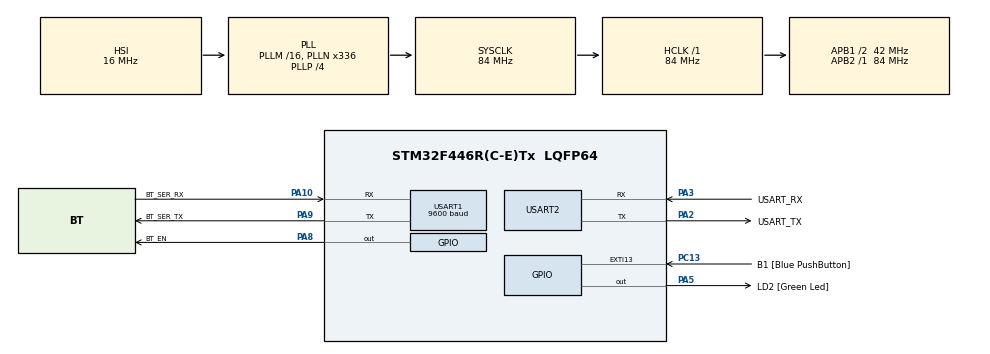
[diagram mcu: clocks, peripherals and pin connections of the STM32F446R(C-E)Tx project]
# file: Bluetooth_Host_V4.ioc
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Mcu.Family=STM32F4
Mcu.Name=STM32F446R(C-E)Tx
Mcu.Package=LQFP64
NVIC.PriorityGroup=NVIC_PRIORITYGROUP_0
PA10.GPIO_Label=BT_SER_RX
PA10.Mode=Asynchronous
PA10.Signal=USART1_RX
PA13.GPIO_Label=TMS
PA13.Mode=Serial_Wire
PA13.Signal=SYS_JTMS-SWDIO
PA14.GPIO_Label=TCK
PA14.Mode=Serial_Wire
PA14.Signal=SYS_JTCK-SWCLK
PA2.GPIO_Label=USART_TX
PA2.Mode=Asynchronous
PA2.Signal=USART2_TX
PA3.GPIO_Label=USART_RX
PA3.Mode=Asynchronous
PA3.Signal=USART2_RX
PA5.GPIO_Label=LD2 [Green Led]
PA5.Signal=GPIO_Output
PA8.GPIO_Label=BT_EN
PA8.Signal=GPIO_Output
PA9.GPIO_Label=BT_SER_TX
PA9.Mode=Asynchronous
PA9.Signal=USART1_TX
PB3.GPIO_Label=SWO
PB3.Signal=SYS_JTDO-SWO
PC13.GPIO_Label=B1 [Blue PushButton]
PC13.GPIO_ModeDefaultEXTI=GPIO_MODE_IT_FALLING
PC13.Signal=GPXTI13
PC14-OSC32_IN.Mode=LSE-External-Oscillator
PC14-OSC32_IN.Signal=RCC_OSC32_IN
PC15-OSC32_OUT.Mode=LSE-External-Oscillator
PC15-OSC32_OUT.Signal=RCC_OSC32_OUT
PH0-OSC_IN.Mode=HSE-External-Oscillator
PH0-OSC_IN.Signal=RCC_OSC_IN
PH1-OSC_OUT.Mode=HSE-External-Oscillator
PH1-OSC_OUT.Signal=RCC_OSC_OUT
ProjectManager.HeapSize=0x200
ProjectManager.StackSize=0x400
ProjectManager.TargetToolchain=MDK-ARM V5.32
RCC.48MHZClocksFreq_Value=84000000
RCC.AHBFreq_Value=84000000
RCC.APB1CLKDivider=RCC_HCLK_DIV2
RCC.APB1Freq_Value=42000000
RCC.APB1TimFreq_Value=84000000
RCC.APB2Freq_Value=84000000
RCC.APB2TimFreq_Value=84000000
RCC.CortexFreq_Value=84000000
RCC.FLatency-AdvancedSettings=FLASH_LATENCY_2
RCC.HCLKFreq_Value=84000000
RCC.HSE_VALUE=8000000
RCC.HSI_VALUE=16000000
RCC.PLLN=336
RCC.PLLP=RCC_PLLP_DIV4
RCC.SYSCLKFreq_VALUE=84000000
RCC.SYSCLKSource=RCC_SYSCLKSOURCE_PLLCLK
RCC.USBFreq_Value=168000000
RCC.VCOOutputFreq_Value=336000000
USART1.BaudRate=9600
USART1.VirtualMode=VM_ASYNC
USART2.VirtualMode=VM_ASYNC
board=NUCLEO-F446RE

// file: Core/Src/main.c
/* USER CODE BEGIN Header */
/**
  ******************************************************************************
  * @file           : main.c
  * @brief          : Main program body
  ******************************************************************************
  * @attention
  *
  * Copyright (c) 2024 STMicroelectronics.
  * All rights reserved.
  *
  * This software is licensed under terms that can be found in the LICENSE file
  * in the root directory of this software component.
  * If no LICENSE file comes with this software, it is provided AS-IS.
  *
  ******************************************************************************
  */
/* USER CODE END Header */
#include "main.h"

/* USER CODE BEGIN Includes */
#include "BT_Commands.h"

/* USER CODE END Includes */

UART_HandleTypeDef huart1;
UART_HandleTypeDef huart2;

void SystemClock_Config(void);
static void MX_GPIO_Init(void);
static void MX_USART1_UART_Init(void);
static void MX_USART2_UART_Init(void);

/* USER CODE BEGIN 0 */

void Serial_Clear_Buffer(){
	char received = SerialRead();
	while (SerialRead() != 0x00)
		{
			received = SerialRead();
			HAL_UART_Transmit(&huart2, (uint8_t *)&received, 1, HAL_MAX_DELAY);
		}
}
void Serial_Print_ADDR()
{
		SerialSendCommand("AT+ADDR?\r\n");
		char readed = SerialRead();
		while (readed != 0x00){
				HAL_UART_Transmit(&huart2, (uint8_t *)&readed, 1, HAL_MAX_DELAY);
				readed = SerialRead();
		}
		HAL_UART_Transmit(&huart2, (uint8_t *)&"\n", 1, HAL_MAX_DELAY);
}

void Serial_Init_Master()
{
		// Configurando o ROLE para ser Master
		HAL_Delay(100);
		SerialSendCommand("AT+ROLE=1\r\n");
		while (SerialOK() == 0)
		{
				SerialSendCommand("AT+ROLE=1\r\n");
				HAL_Delay(100);
		}
		HAL_UART_Transmit(&huart2, (uint8_t *)&"OK ROLE\n", 8, HAL_MAX_DELAY);

		Serial_Clear_Buffer();

		// Configurando o CMODE para se Conectar a um endere?o fixo
		HAL_Delay(100);
		SerialSendCommand("AT+CMODE=0\r\n");
		while (SerialOK() == 0)
		{
				SerialSendCommand("AT+CMODE=0\r\n");
				HAL_Delay(100);
		}
		HAL_UART_Transmit(&huart2, (uint8_t *)&"OK CMODE\n", 9, HAL_MAX_DELAY);

		Serial_Clear_Buffer();

		// Configurando o BIND para se Conectar no endere?o do Bluetooth selecionado
		HAL_Delay(100);
		SerialSendCommand("AT+BIND=98D3,31,F5DB90\r\n");
		while (SerialOK() == 0)
		{
				SerialSendCommand("AT+BIND=98D3,31,F5DB90\r\n");
				HAL_Delay(100);
		}
		HAL_UART_Transmit(&huart2, (uint8_t *)&"OK BIND\n", 9, HAL_MAX_DELAY);
}

void Serial_Init_Slave()
{
		// Configurando o ROLE para ser Master
		HAL_Delay(100);
		SerialSendCommand("AT+ROLE=0\r\n");
		while (SerialOK() == 0)
		{
				SerialSendCommand("AT+ROLE=0\r\n");
				HAL_Delay(100);
		}
		HAL_UART_Transmit(&huart2, (uint8_t *)&"OK ROLE\n", 8, HAL_MAX_DELAY);
}

/* USER CODE END 0 */

int main(void)
{

  /* MCU Configuration--------------------------------------------------------*/

  /* Reset of all peripherals, Initializes the Flash interface and the Systick. */
  HAL_Init();

  /* Configure the system clock */
  SystemClock_Config();

  /* Initialize all configured peripherals */
  MX_GPIO_Init();
  MX_USART1_UART_Init();
  MX_USART2_UART_Init();

  /* USER CODE BEGIN 2 */

	HAL_UART_Transmit(&huart2, (uint8_t *)"Starting\r\n", 10, HAL_MAX_DELAY);

	SerialSendCommand("AT\r\n");
	while (SerialOK() == 0)
	{
		SerialSendCommand("AT\r\n");
		HAL_Delay(300);
	}

	Serial_Print_ADDR();
	Serial_Clear_Buffer();

	Serial_Init_Master();
	Serial_Clear_Buffer();
  /* USER CODE END 2 */

  /* Infinite loop */
  /* USER CODE BEGIN WHILE */
  while (1)
  {
		if (HAL_GPIO_ReadPin(B1_GPIO_Port, B1_Pin) == 0)
		{
				SerialSendText("OLA MUNDO\r\n");
				HAL_Delay(200);
		}
    /* USER CODE END WHILE */
  }
}

void SystemClock_Config(void)
{
  RCC_OscInitTypeDef RCC_OscInitStruct = {0};
  RCC_ClkInitTypeDef RCC_ClkInitStruct = {0};

  /** Configure the main internal regulator output voltage
  */
  __HAL_RCC_PWR_CLK_ENABLE();
  __HAL_PWR_VOLTAGESCALING_CONFIG(PWR_REGULATOR_VOLTAGE_SCALE3);

  /** Initializes the RCC Oscillators according to the specified parameters
  * in the RCC_OscInitTypeDef structure.
  */
  RCC_OscInitStruct.OscillatorType = RCC_OSCILLATORTYPE_HSI;
  RCC_OscInitStruct.HSIState = RCC_HSI_ON;
  RCC_OscInitStruct.HSICalibrationValue = RCC_HSICALIBRATION_DEFAULT;
  RCC_OscInitStruct.PLL.PLLState = RCC_PLL_ON;
  RCC_OscInitStruct.PLL.PLLSource = RCC_PLLSOURCE_HSI;
  RCC_OscInitStruct.PLL.PLLM = 16;
  RCC_OscInitStruct.PLL.PLLN = 336;
  RCC_OscInitStruct.PLL.PLLP = RCC_PLLP_DIV4;
  RCC_OscInitStruct.PLL.PLLQ = 2;
  RCC_OscInitStruct.PLL.PLLR = 2;
  if (HAL_RCC_OscConfig(&RCC_OscInitStruct) != HAL_OK)
  {
    Error_Handler();
  }

  /** Initializes the CPU, AHB and APB buses clocks
  */
  RCC_ClkInitStruct.ClockType = RCC_CLOCKTYPE_HCLK|RCC_CLOCKTYPE_SYSCLK
                              |RCC_CLOCKTYPE_PCLK1|RCC_CLOCKTYPE_PCLK2;
  RCC_ClkInitStruct.SYSCLKSource = RCC_SYSCLKSOURCE_PLLCLK;
  RCC_ClkInitStruct.AHBCLKDivider = RCC_SYSCLK_DIV1;
  RCC_ClkInitStruct.APB1CLKDivider = RCC_HCLK_DIV2;
  RCC_ClkInitStruct.APB2CLKDivider = RCC_HCLK_DIV1;

  if (HAL_RCC_ClockConfig(&RCC_ClkInitStruct, FLASH_LATENCY_2) != HAL_OK)
  {
    Error_Handler();
  }
}

static void MX_USART1_UART_Init(void)
{

  huart1.Instance = USART1;
  huart1.Init.BaudRate = 9600;
  huart1.Init.WordLength = UART_WORDLENGTH_8B;
  huart1.Init.StopBits = UART_STOPBITS_1;
  huart1.Init.Parity = UART_PARITY_NONE;
  huart1.Init.Mode = UART_MODE_TX_RX;
  huart1.Init.HwFlowCtl = UART_HWCONTROL_NONE;
  huart1.Init.OverSampling = UART_OVERSAMPLING_16;
  if (HAL_UART_Init(&huart1) != HAL_OK)
  {
    Error_Handler();
  }

}

static void MX_USART2_UART_Init(void)
{

  huart2.Instance = USART2;
  huart2.Init.BaudRate = 115200;
  huart2.Init.WordLength = UART_WORDLENGTH_8B;
  huart2.Init.StopBits = UART_STOPBITS_1;
  huart2.Init.Parity = UART_PARITY_NONE;
  huart2.Init.Mode = UART_MODE_TX_RX;
  huart2.Init.HwFlowCtl = UART_HWCONTROL_NONE;
  huart2.Init.OverSampling = UART_OVERSAMPLING_16;
  if (HAL_UART_Init(&huart2) != HAL_OK)
  {
    Error_Handler();
  }

}

static void MX_GPIO_Init(void)
{
  GPIO_InitTypeDef GPIO_InitStruct = {0};

  /* GPIO Ports Clock Enable */
  __HAL_RCC_GPIOC_CLK_ENABLE();
  __HAL_RCC_GPIOH_CLK_ENABLE();
  __HAL_RCC_GPIOA_CLK_ENABLE();
  __HAL_RCC_GPIOB_CLK_ENABLE();

  /*Configure GPIO pin Output Level */
  HAL_GPIO_WritePin(GPIOA, LD2_Pin|BT_EN_Pin, GPIO_PIN_RESET);

  /*Configure GPIO pin : B1_Pin */
  GPIO_InitStruct.Pin = B1_Pin;
  GPIO_InitStruct.Mode = GPIO_MODE_IT_FALLING;
  GPIO_InitStruct.Pull = GPIO_NOPULL;
  HAL_GPIO_Init(B1_GPIO_Port, &GPIO_InitStruct);

  /*Configure GPIO pins : LD2_Pin BT_EN_Pin */
  GPIO_InitStruct.Pin = LD2_Pin|BT_EN_Pin;
  GPIO_InitStruct.Mode = GPIO_MODE_OUTPUT_PP;
  GPIO_InitStruct.Pull = GPIO_NOPULL;
  GPIO_InitStruct.Speed = GPIO_SPEED_FREQ_LOW;
  HAL_GPIO_Init(GPIOA, &GPIO_InitStruct);

}

void Error_Handler(void)
{
  __disable_irq();
  while (1)
  {
  }
}
